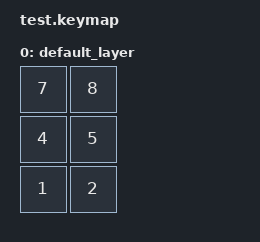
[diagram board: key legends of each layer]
/*
 * Copyright (c) 2020 The ZMK Contributors
 *
 * SPDX-License-Identifier: MIT
 */

#include <behaviors.dtsi>
#include <dt-bindings/zmk/keys.h>

/ {
    keymap {
        compatible = "zmk,keymap";

        default_layer {
            bindings = <
                &kp N7 &kp N8
                &kp N4 &kp N5
                &kp N1 &kp N2
            >;
        };
    };
};
